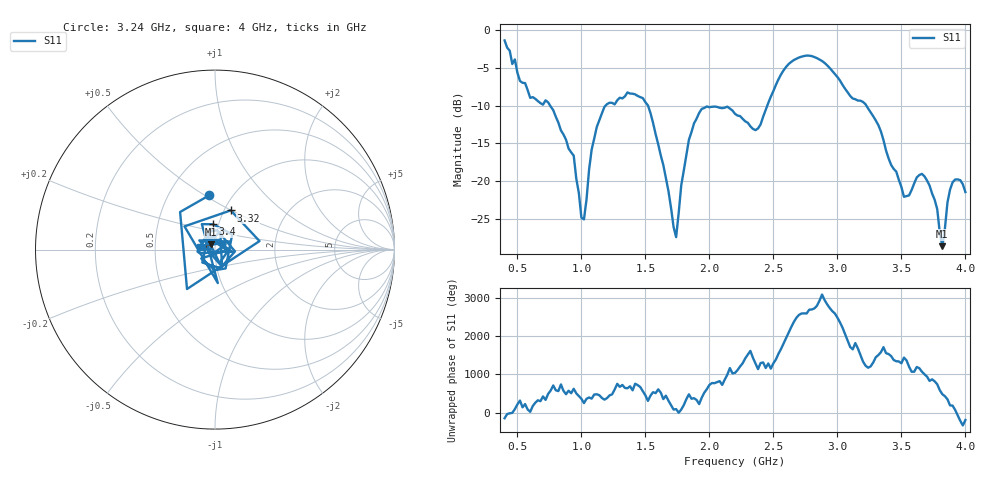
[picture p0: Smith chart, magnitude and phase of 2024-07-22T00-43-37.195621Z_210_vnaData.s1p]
!Created with skrf (http://scikit-rf.org).
# Hz S RI R 50.0
!freq ReS11 ImS11
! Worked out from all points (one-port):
!   181 points, 400 MHz to 4 GHz, reference 50 ohm
!   lowest |S11| = -28.6 dB at 3.82 GHz (marker M1), VSWR 1.08, Z = 47.9 + j2.92 ohm
!   |S11| at or under -10 dB: 756.6 MHz to 1.188 GHz (431.3 MHz wide, 44.4 % of centre); 1.521 GHz to 2.452 GHz (930.7 MHz wide, 46.9 % of centre); 3.227 GHz to end of sweep
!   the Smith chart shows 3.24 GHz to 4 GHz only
!   S11 on the Smith chart (normalised r, x): 3.24 GHz: 0.78, +0.52; 3.32 GHz: 1.07, +0.50; 3.4 GHz: 0.94, +0.27; 4 GHz: 0.85, +0.03
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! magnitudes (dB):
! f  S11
! 400 MHz  -1.3
! 600 MHz  -8.9
! 740 MHz  -9.5
! 860 MHz  -13.8
! 940 MHz  -16.6
! 1 GHz  -24.9
! 1.02 GHz  -25.1
! 1.12 GHz  -12.8
! 1.3 GHz  -8.9
! 1.52 GHz  -10.0
! 1.74 GHz  -27.4
! 1.76 GHz  -24.2
! 1.84 GHz  -14.5
! 1.92 GHz  -10.9
! 2.2 GHz  -11.1
! 2.38 GHz  -13.0
! 2.66 GHz  -3.9
! 2.88 GHz  -4.1
! 3.1 GHz  -8.7
! 3.24 GHz  -10.4
! 3.32 GHz  -12.6
! 3.4 GHz  -17.0
! 3.56 GHz  -21.9
! 3.68 GHz  -19.4
! 3.78 GHz  -23.7
! 3.82 GHz  -28.6
! 3.9 GHz  -20.2
! 4 GHz  -21.5
